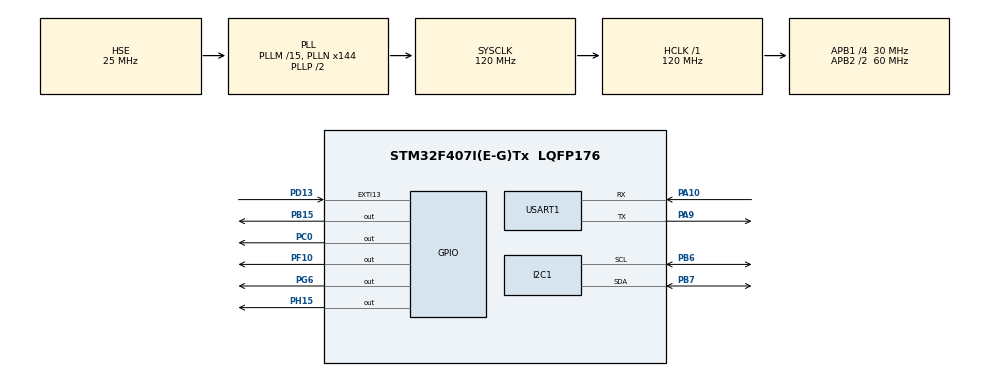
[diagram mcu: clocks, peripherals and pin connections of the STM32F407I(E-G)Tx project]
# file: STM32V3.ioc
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Mcu.Family=STM32F4
Mcu.Name=STM32F407I(E-G)Tx
Mcu.Package=LQFP176
NVIC.EXTI15_10_IRQn=true\:0\:0\:false\:false\:true\:true\:true\:true
NVIC.HASH_RNG_IRQn=true\:0\:0\:false\:false\:true\:true\:true\:true
NVIC.PriorityGroup=NVIC_PRIORITYGROUP_4
NVIC.USART1_IRQn=true\:0\:0\:false\:false\:true\:true\:true\:true
PA10.Mode=Asynchronous
PA10.Signal=USART1_RX
PA9.Mode=Asynchronous
PA9.Signal=USART1_TX
PB15.Signal=GPIO_Output
PB6.GPIO_Pu=GPIO_PULLUP
PB6.Mode=I2C
PB6.Signal=I2C1_SCL
PB7.GPIO_Pu=GPIO_PULLUP
PB7.Mode=I2C
PB7.Signal=I2C1_SDA
PC0.Signal=GPIO_Output
PD13.GPIO_ModeDefaultEXTI=GPIO_MODE_IT_FALLING
PD13.Signal=GPXTI13
PF10.Signal=GPIO_Output
PG6.Signal=GPIO_Output
PH0-OSC_IN.Mode=HSE-External-Oscillator
PH0-OSC_IN.Signal=RCC_OSC_IN
PH1-OSC_OUT.Mode=HSE-External-Oscillator
PH1-OSC_OUT.Signal=RCC_OSC_OUT
PH15.Signal=GPIO_Output
ProjectManager.HeapSize=0x200
ProjectManager.StackSize=0x400
ProjectManager.TargetToolchain=STM32CubeIDE
RCC.48MHZClocksFreq_Value=48000000
RCC.AHBFreq_Value=120000000
RCC.APB1CLKDivider=RCC_HCLK_DIV4
RCC.APB1Freq_Value=30000000
RCC.APB1TimFreq_Value=60000000
RCC.APB2CLKDivider=RCC_HCLK_DIV2
RCC.APB2Freq_Value=60000000
RCC.APB2TimFreq_Value=120000000
RCC.CortexFreq_Value=120000000
RCC.HCLKFreq_Value=120000000
RCC.HSE_VALUE=25000000
RCC.HSI_VALUE=16000000
RCC.LSE_VALUE=32768
RCC.PLLM=15
RCC.PLLN=144
RCC.PLLQ=5
RCC.PLLSourceVirtual=RCC_PLLSOURCE_HSE
RCC.SYSCLKFreq_VALUE=120000000
RCC.SYSCLKSource=RCC_SYSCLKSOURCE_PLLCLK
RCC.VCOOutputFreq_Value=240000000
USART1.VirtualMode=VM_ASYNC
VP_CRC_VS_CRC.Mode=CRC_Activate
VP_IWDG_VS_IWDG.Mode=IWDG_Activate
VP_RNG_VS_RNG.Mode=RNG_Activate
board=Marquee

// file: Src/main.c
/* USER CODE BEGIN Header */
/**
  ******************************************************************************
  * @file           : main.c
  * @brief          : Main program body
  ******************************************************************************
  * @attention
  *
  * Copyright (c) 2024 STMicroelectronics.
  * All rights reserved.
  *
  * This software is licensed under terms that can be found in the LICENSE file
  * in the root directory of this software component.
  * If no LICENSE file comes with this software, it is provided AS-IS.
  *
  ******************************************************************************
  */
/* USER CODE END Header */
#include "main.h"
#include "crc.h"
#include "i2c.h"
#include "iwdg.h"
#include "rng.h"
#include "usart.h"
#include "gpio.h"

/* USER CODE BEGIN Includes */
#include "zlg7290.h"
#include "stdio.h"
#include "button.h"
#include "stm32f4xx_it.h"
#include "state_machine.h"
#include "data.h"
#include "i2c.h"
/* USER CODE END Includes */

/* USER CODE BEGIN PTD */
void I2C_ResetBus(I2C_HandleTypeDef *hi2c);
/* USER CODE END PTD */

void SystemClock_Config(void);

/* USER CODE BEGIN 0 */
uint64_t wdg_num = 0;
/* USER CODE END 0 */

int main(void)
{

  /* MCU Configuration--------------------------------------------------------*/

  /* Reset of all peripherals, Initializes the Flash interface and the Systick. */
  HAL_Init();

  /* USER CODE BEGIN Init */
   // wait for the device to be ready
  /* USER CODE END Init */

  /* Configure the system clock */
  SystemClock_Config();

  /* USER CODE BEGIN SysInit */
  HAL_Delay(10);
  /* USER CODE END SysInit */

  /* Initialize all configured peripherals */
  MX_GPIO_Init();
  MX_I2C1_Init();
  MX_USART1_UART_Init();
  MX_CRC_Init();
  MX_RNG_Init();
  MX_IWDG_Init();

  /* USER CODE BEGIN 2 */
  uint32_t cld;
  GET_NUM_DATE(cold_start, cld);
  if(cld == 0xdeadbeef != 0){ //checksum
        //热启动
    } else {
        //冷启动
        HAL_Delay(0x40);    // 上电复位延时处理
        UPDATE_NUM_BAK(now_state, STATE_CONFIG_TIME);
        UPDATE_NUM_BAK(now_state, STATE_CONFIG_TIME);
        UPDATE_NUM_BAK(cold_start, 0xdeadbeef)
    }

  /* USER CODE END 2 */

  /* Infinite loop */
  while (1)
  {

    /* USER CODE BEGIN 3 */

    // Add random delay to avoid collision side channel attack
    if (now_state != STATE_TIME) {
        if (__HAL_RNG_GET_FLAG(&hrng, RNG_FLAG_DRDY)) {
            uint32_t random_number;
            HAL_RNG_GenerateRandomNumber(&hrng, &random_number);
            HAL_Delay(random_number % 3);

        }
    }

    wdg_num ++;
    if (wdg_num % 10000 == 0) {
        HAL_IWDG_Refresh(&hiwdg);
    }
    handleStateMachine();

  }
  /* USER CODE END 3 */
}

void SystemClock_Config(void)
{
  RCC_OscInitTypeDef RCC_OscInitStruct = {0};
  RCC_ClkInitTypeDef RCC_ClkInitStruct = {0};

  /** Configure the main internal regulator output voltage
  */
  __HAL_RCC_PWR_CLK_ENABLE();
  __HAL_PWR_VOLTAGESCALING_CONFIG(PWR_REGULATOR_VOLTAGE_SCALE1);

  /** Initializes the RCC Oscillators according to the specified parameters
  * in the RCC_OscInitTypeDef structure.
  */
  RCC_OscInitStruct.OscillatorType = RCC_OSCILLATORTYPE_LSI|RCC_OSCILLATORTYPE_HSE;
  RCC_OscInitStruct.HSEState = RCC_HSE_ON;
  RCC_OscInitStruct.LSIState = RCC_LSI_ON;
  RCC_OscInitStruct.PLL.PLLState = RCC_PLL_ON;
  RCC_OscInitStruct.PLL.PLLSource = RCC_PLLSOURCE_HSE;
  RCC_OscInitStruct.PLL.PLLM = 15;
  RCC_OscInitStruct.PLL.PLLN = 144;
  RCC_OscInitStruct.PLL.PLLP = RCC_PLLP_DIV2;
  RCC_OscInitStruct.PLL.PLLQ = 5;
  if (HAL_RCC_OscConfig(&RCC_OscInitStruct) != HAL_OK)
  {
    Error_Handler();
  }

  /** Initializes the CPU, AHB and APB buses clocks
  */
  RCC_ClkInitStruct.ClockType = RCC_CLOCKTYPE_HCLK|RCC_CLOCKTYPE_SYSCLK
                              |RCC_CLOCKTYPE_PCLK1|RCC_CLOCKTYPE_PCLK2;
  RCC_ClkInitStruct.SYSCLKSource = RCC_SYSCLKSOURCE_PLLCLK;
  RCC_ClkInitStruct.AHBCLKDivider = RCC_SYSCLK_DIV1;
  RCC_ClkInitStruct.APB1CLKDivider = RCC_HCLK_DIV4;
  RCC_ClkInitStruct.APB2CLKDivider = RCC_HCLK_DIV2;

  if (HAL_RCC_ClockConfig(&RCC_ClkInitStruct, FLASH_LATENCY_3) != HAL_OK)
  {
    Error_Handler();
  }
}

void Error_Handler(void)
{
  /* USER CODE BEGIN Error_Handler_Debug */
    /* User can add his own implementation to report the HAL error return state */
    __disable_irq();
    while (1) {
      /* USER CODE END WHILE */

      /* USER CODE BEGIN 3 */
      // 点亮所有LED
      HAL_GPIO_WritePin(GPIOB, GPIO_PIN_15, GPIO_PIN_SET);
      HAL_GPIO_WritePin(GPIOF, GPIO_PIN_10, GPIO_PIN_SET);
      HAL_GPIO_WritePin(GPIOH, GPIO_PIN_15, GPIO_PIN_SET);
      HAL_GPIO_WritePin(GPIOC, GPIO_PIN_0, GPIO_PIN_SET);

      HAL_Delay(500); // 点亮持续500毫秒

      // 熄灭所有LED
      HAL_GPIO_WritePin(GPIOB, GPIO_PIN_15, GPIO_PIN_RESET);
      HAL_GPIO_WritePin(GPIOF, GPIO_PIN_10, GPIO_PIN_RESET);
      HAL_GPIO_WritePin(GPIOH, GPIO_PIN_15, GPIO_PIN_RESET);
      HAL_GPIO_WritePin(GPIOC, GPIO_PIN_0, GPIO_PIN_RESET);

      HAL_Delay(500); // 熄灭持续500毫秒
    }
  /* USER CODE END Error_Handler_Debug */
}
